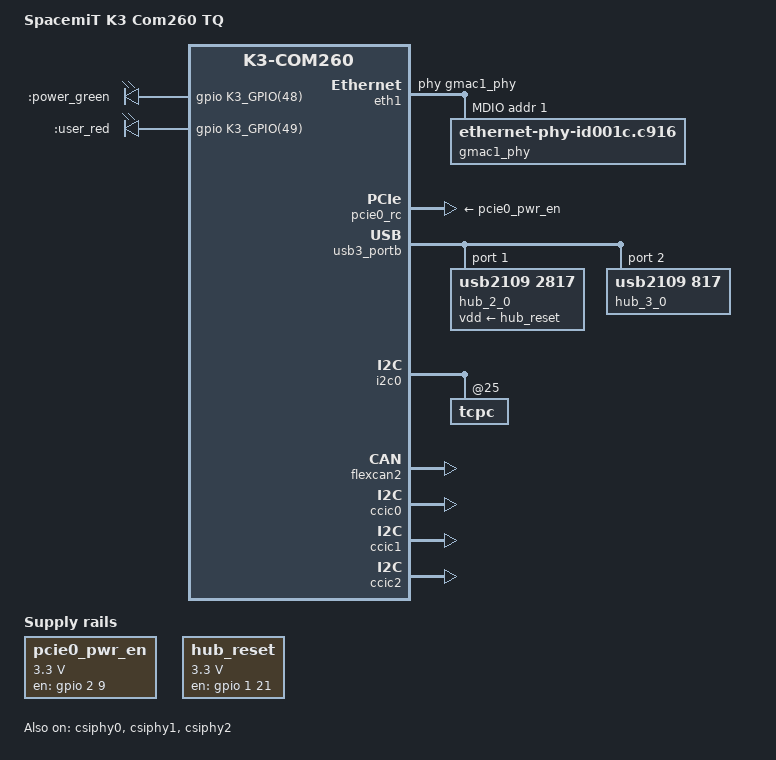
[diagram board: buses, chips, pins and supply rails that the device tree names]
// SPDX-License-Identifier: (GPL-2.0 OR MIT)
/* Copyright (c) 2025 Spacemit, Inc */

#include "k3_com260.dtsi"
#include "k3-camera.dtsi"

/ {
	model = "SpacemiT K3 Com260 TQ";
	compatible = "spacemit,k3-com260-tq";

	pcie0_pwr_en: regulator-pcie0-pwr-en {
		compatible = "regulator-fixed";
		regulator-name = "pcie0 pwr en";
		pinctrl-names = "default";
		pinctrl-0 = <&pcie0_pwr_en_cfg>;
		regulator-min-microvolt = <3300000>;
		regulator-max-microvolt = <3300000>;
		gpio = <&gpio 2 9 GPIO_ACTIVE_HIGH>;
		enable-active-high;
		regulator-boot-on;
		status = "okay";
	};

	hub_reset: hub-reset {
		compatible = "regulator-fixed";
		regulator-name = "hub-reset";
		regulator-min-microvolt = <3300000>;
		regulator-max-microvolt = <3300000>;
		enable-active-high;
		regulator-boot-on;
		gpio = <&gpio 1 21 0>;
	};

	firefly_leds: leds {
		compatible = "gpio-leds";
		pinctrl-names = "default";
		pinctrl-0 = <&led_power &led_user>;
		status = "okay";

		power_led: power {
			label = ":power_green";
			linux,default-trigger = "ir-power-click";
			gpios = <&gpio K3_GPIO(48) GPIO_ACTIVE_HIGH>;
			default-state = "on";
		};

		user_led: user {
			label = ":user_red";
			linux,default-trigger = "ir-user-click";
			gpios = <&gpio K3_GPIO(49) GPIO_ACTIVE_HIGH>;
			default-state = "off";
		};
	};
};

&pinctrl {
	pcie0_pwr_en_cfg: pcie0-pwr-en-cfg {
		pcie0-pwr-en-pins {
			pinmux = <K3_PADCONF(73, 0)>;

			bias-pull-up;
			drive-strength = <33>;
			power-source = <1800>;
		};
	};

	can2-1-cfg {
		can2-0-pins {
			power-source = <3300>;
		};
	};

	led_power: led-power-cfg {
		led-power-pins {
			pinmux = <K3_PADCONF(48, 0)>;

			bias-disable;
			drive-strength = <25>;
			power-source = <1800>;
		};
	};

	led_user: led-user-cfg {
		led-user-pins {
			pinmux = <K3_PADCONF(49, 0)>;

			bias-disable;
			drive-strength = <25>;
			power-source = <1800>;
		};
	};
};

/* Override dtsi default voltages */
&rpmi_regulator {
	edcdc2: edcdc2 {
		regulator-min-microvolt = <800000>;
		regulator-max-microvolt = <800000>;
		regulator-always-on;
		regulator-boot-on;
	};

	edcdc1: edcdc1 {
		regulator-min-microvolt = <534000>;
		regulator-max-microvolt = <1000000>;
		regulator-always-on;
		regulator-boot-on;
	};
};

&eth1 {
	phy-handle = <&gmac1_phy>;

	mdio {
		#address-cells = <1>;
		#size-cells = <0>;
		compatible = "snps,dwmac-mdio";

		gmac1_phy: ethernet-phy@1 {
			compatible = "ethernet-phy-id001c.c916",
				     "ethernet-phy-ieee802.3-c22";
			reg = <1>;
			realtek,aldps-enable;
			realtek,clkout-disable;

			leds {
				#address-cells = <1>;
				#size-cells = <0>;

				led@1 {
					reg = <1>;
					function = LED_FUNCTION_LAN;
					color = <LED_COLOR_ID_GREEN>;
					default-state = "keep";
				};

				led@2 {
					reg = <2>;
					function = LED_FUNCTION_LAN;
					color = <LED_COLOR_ID_YELLOW>;
					default-state = "keep";
				};
			};
		};
	};
};

&pcie0_rc {
	vpcie3v3-supply = <&pcie0_pwr_en>;
};

&usb3_porta {
	reset-on-resume;
};

&usb3_portb {
	reset-on-resume;
	/* wakeup-source; */

	/* VL817 USB2.0 hub (4 ports) */
	hub_2_0: hub@1 {
		compatible = "usb2109,2817";
		reg = <1>;
		peer-hub = <&hub_3_0>;
		vdd-supply = <&hub_reset>;
	};

	/* VL817 USB3.0 hub (4 ports) */
	hub_3_0: hub@2 {
		compatible = "usb2109,817";
		reg = <2>;
		peer-hub = <&hub_2_0>;
	};
};

&i2c0 {
	tcpc@25 {
		suspend-vbus-off;
	};
};

&flexcan2 {
	clock-frequency = <80000000>;
	pinctrl-names = "default";
	pinctrl-0 = <&can2_1_cfg>;
	status = "okay";
};

&ccic0 {
	status = "okay";
};

&ccic1 {
	status = "okay";
};

&ccic2 {
	status = "okay";
};

&ccic3 {
	status = "disabled";
};

&csiphy0 {
	status = "okay";
};

&csiphy1 {
	status = "okay";
};

&csiphy2 {
	spacemit,bifmode-enable = <0>;
	status = "okay";
};
